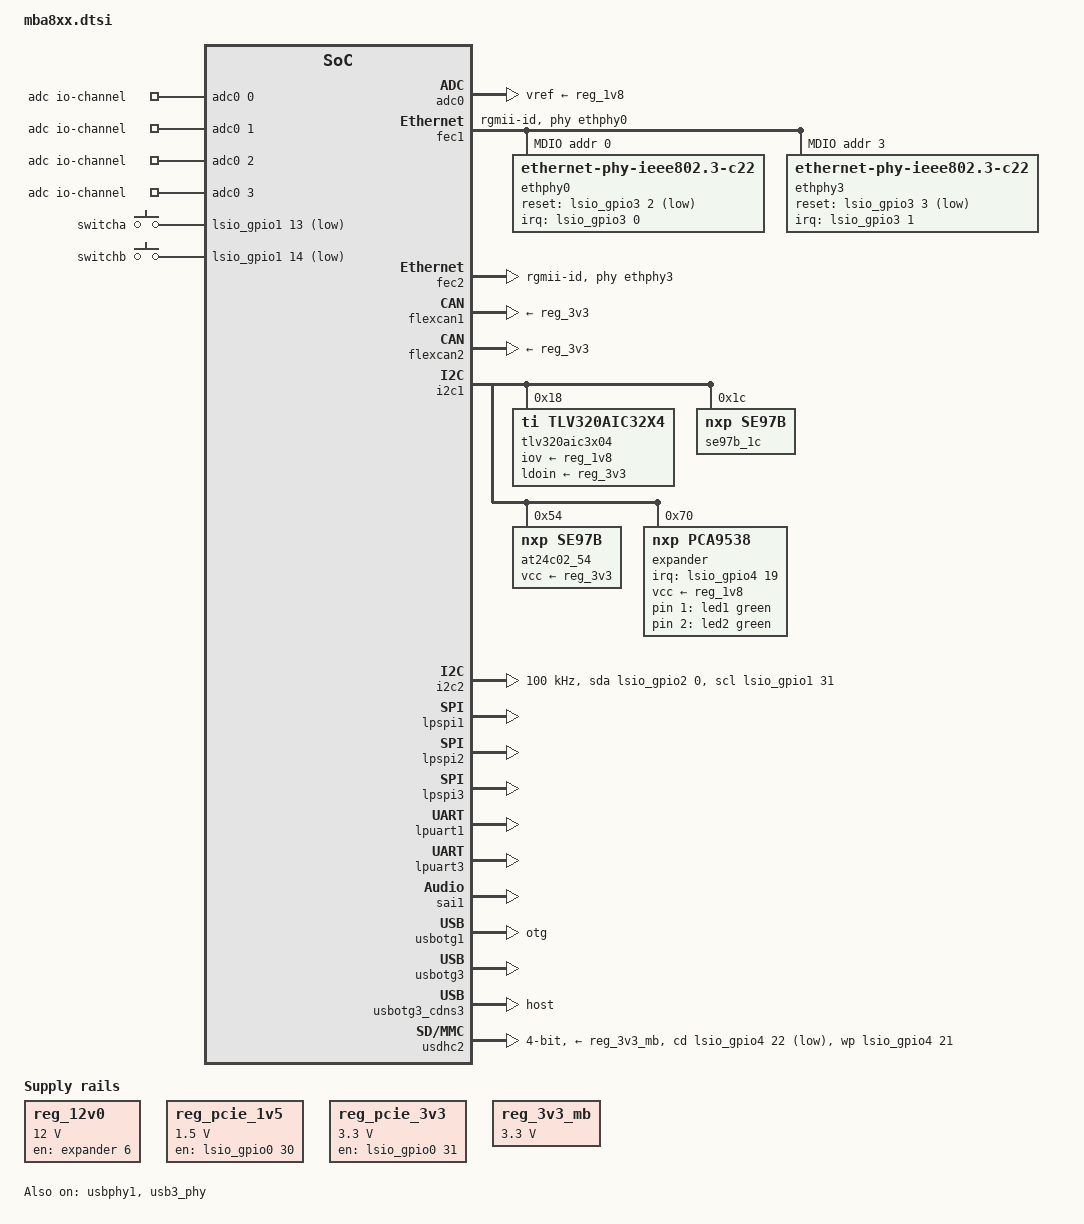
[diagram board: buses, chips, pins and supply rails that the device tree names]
// SPDX-License-Identifier: (GPL-2.0-or-later OR X11)
/*
 * Copyright 2018-2023 TQ-Systems GmbH <linux@ew.tq-group.com>,
 * D-82229 Seefeld, Germany.
 * Author: Alexander Stein
 */

#include <dt-bindings/input/input.h>
#include <dt-bindings/leds/common.h>
#include <dt-bindings/net/ti-dp83867.h>

/ {
	adc {
		compatible = "iio-hwmon";
		io-channels = <&adc0 0>, <&adc0 1>, <&adc0 2>, <&adc0 3>;
	};

	aliases {
		rtc0 = &pcf85063;
		rtc1 = &rtc;
	};

	backlight_lvds: backlight-lvds {
		compatible = "pwm-backlight";
		pinctrl-names = "default";
		pinctrl-0 = <&pinctrl_bl_lvds>;
		pwms = <&adma_pwm 0 5000000 0>;
		brightness-levels = <0 4 8 16 32 64 128 255>;
		default-brightness-level = <7>;
		power-supply = <&reg_12v0>;
		enable-gpios = <&lsio_gpio1 30 GPIO_ACTIVE_HIGH>;
		status = "disabled";
	};

	chosen {
		stdout-path = &lpuart1;
	};

	gpio-keys {
		compatible = "gpio-keys";
		pinctrl-names = "default";
		pinctrl-0 = <&pinctrl_gpiobuttons>;
		autorepeat;

		switch-a {
			label = "switcha";
			linux,code = <BTN_0>;
			gpios = <&lsio_gpio1 13 GPIO_ACTIVE_LOW>;
		};

		switch-b {
			label = "switchb";
			linux,code = <BTN_1>;
			gpios = <&lsio_gpio1 14 GPIO_ACTIVE_LOW>;
		};
	};

	gpio-leds {
		compatible = "gpio-leds";

		led1 {
			color = <LED_COLOR_ID_GREEN>;
			function = LED_FUNCTION_STATUS;
			gpios = <&expander 1 GPIO_ACTIVE_HIGH>;
			linux,default-trigger = "default-on";
		};

		led2 {
			color = <LED_COLOR_ID_GREEN>;
			function = LED_FUNCTION_HEARTBEAT;
			gpios = <&expander 2 GPIO_ACTIVE_HIGH>;
			linux,default-trigger = "heartbeat";
		};
	};

	/* TODO LVDS panels */

	reg_12v0: regulator-12v0 {
		compatible = "regulator-fixed";
		regulator-name = "V_12V";
		regulator-min-microvolt = <12000000>;
		regulator-max-microvolt = <12000000>;
		gpio = <&expander 6 GPIO_ACTIVE_HIGH>;
		enable-active-high;
	};

	reg_pcie_1v5: regulator-pcie-1v5 {
		compatible = "regulator-fixed";
		regulator-name = "MBA8XX_PCIE_1V5";
		pinctrl-names = "default";
		pinctrl-0 = <&pinctrl_reg_pcie_1v5>;
		regulator-min-microvolt = <1500000>;
		regulator-max-microvolt = <1500000>;
		gpio = <&lsio_gpio0 30 GPIO_ACTIVE_HIGH>;
		startup-delay-us = <1000>;
		enable-active-high;
	};

	reg_pcie_3v3: regulator-pcie-3v3 {
		compatible = "regulator-fixed";
		regulator-name = "MBA8XX_PCIE_3V3";
		pinctrl-names = "default";
		pinctrl-0 = <&pinctrl_reg_pcie_3v3>;
		regulator-min-microvolt = <3300000>;
		regulator-max-microvolt = <3300000>;
		gpio = <&lsio_gpio0 31 GPIO_ACTIVE_HIGH>;
		startup-delay-us = <1000>;
		enable-active-high;
		regulator-always-on;
	};

	reg_3v3_mb: regulator-usdhc2-vmmc {
		compatible = "regulator-fixed";
		regulator-name = "V_3V3_MB";
		regulator-min-microvolt = <3300000>;
		regulator-max-microvolt = <3300000>;
	};

	sound {
		compatible = "fsl,imx-audio-tlv320aic32x4";
		model = "tqm-tlv320aic32";
		audio-codec = <&tlv320aic3x04>;
		ssi-controller = <&sai1>;
	};
};

&adc0 {
	pinctrl-names = "default";
	pinctrl-0 = <&pinctrl_adc0>;
	vref-supply = <&reg_1v8>;
	#io-channel-cells = <1>;
	status = "okay";
};

&adma_pwm {
	pinctrl-names = "default";
	pinctrl-0 = <&pinctrl_admapwm>;
};

&fec1 {
	pinctrl-names = "default";
	pinctrl-0 = <&pinctrl_fec1>;
	phy-mode = "rgmii-id";
	phy-handle = <&ethphy0>;
	status = "okay";

	mdio {
		#address-cells = <1>;
		#size-cells = <0>;

		ethphy0: ethernet-phy@0 {
			compatible = "ethernet-phy-ieee802.3-c22";
			reg = <0>;
			pinctrl-names = "default";
			pinctrl-0 = <&pinctrl_ethphy0>;
			ti,rx-internal-delay = <DP83867_RGMIIDCTL_2_25_NS>;
			ti,tx-internal-delay = <DP83867_RGMIIDCTL_2_25_NS>;
			ti,fifo-depth = <DP83867_PHYCR_FIFO_DEPTH_4_B_NIB>;
			ti,dp83867-rxctrl-strap-quirk;
			ti,clk-output-sel = <DP83867_CLK_O_SEL_OFF>;
			reset-gpios = <&lsio_gpio3 2 GPIO_ACTIVE_LOW>;
			reset-assert-us = <500000>;
			reset-deassert-us = <50000>;
			enet-phy-lane-no-swap;
			interrupt-parent = <&lsio_gpio3>;
			interrupts = <0 IRQ_TYPE_EDGE_FALLING>;
		};

		ethphy3: ethernet-phy@3 {
			compatible = "ethernet-phy-ieee802.3-c22";
			reg = <3>;
			pinctrl-names = "default";
			pinctrl-0 = <&pinctrl_ethphy3>;
			ti,rx-internal-delay = <DP83867_RGMIIDCTL_2_25_NS>;
			ti,tx-internal-delay = <DP83867_RGMIIDCTL_2_25_NS>;
			ti,fifo-depth = <DP83867_PHYCR_FIFO_DEPTH_4_B_NIB>;
			ti,dp83867-rxctrl-strap-quirk;
			ti,clk-output-sel = <DP83867_CLK_O_SEL_OFF>;
			reset-gpios = <&lsio_gpio3 3 GPIO_ACTIVE_LOW>;
			reset-assert-us = <500000>;
			reset-deassert-us = <50000>;
			enet-phy-lane-no-swap;
			interrupt-parent = <&lsio_gpio3>;
			interrupts = <1 IRQ_TYPE_EDGE_FALLING>;
		};
	};
};

&fec2 {
	pinctrl-names = "default";
	pinctrl-0 = <&pinctrl_fec2>;
	phy-mode = "rgmii-id";
	phy-handle = <&ethphy3>;
	status = "okay";
};

&flexcan1 {
	pinctrl-names = "default";
	pinctrl-0 = <&pinctrl_can0>;
	xceiver-supply = <&reg_3v3>;
	status = "okay";
};

&flexcan2 {
	pinctrl-names = "default";
	pinctrl-0 = <&pinctrl_can1>;
	xceiver-supply = <&reg_3v3>;
	status = "okay";
};

&i2c1 {
	tlv320aic3x04: audio-codec@18 {
		compatible = "ti,tlv320aic32x4";
		reg = <0x18>;
		clocks = <&mclkout0_lpcg 0>;
		clock-names = "mclk";
		iov-supply = <&reg_1v8>;
		ldoin-supply = <&reg_3v3>;
	};

	se97b_1c: temperature-sensor@1c {
		compatible = "nxp,se97b", "jedec,jc-42.4-temp";
		reg = <0x1c>;
	};

	at24c02_54: eeprom@54 {
		compatible = "nxp,se97b", "atmel,24c02";
		reg = <0x54>;
		pagesize = <16>;
		vcc-supply = <&reg_3v3>;
	};

	expander: gpio@70 {
		compatible = "nxp,pca9538";
		reg = <0x70>;
		pinctrl-names = "default";
		pinctrl-0 = <&pinctrl_pca9538>;
		gpio-controller;
		#gpio-cells = <2>;
		interrupt-parent = <&lsio_gpio4>;
		interrupts = <19 IRQ_TYPE_LEVEL_LOW>;
		interrupt-controller;
		#interrupt-cells = <2>;
		vcc-supply = <&reg_1v8>;

		gpio-line-names = "", "LED_A",
				  "LED_B", "",
				  "DSI_EN", "USB_RESET#",
				  "V_12V_EN", "PCIE_DIS#";
	};
};

&i2c2 {
	clock-frequency = <100000>;
	pinctrl-names = "default", "gpio";
	pinctrl-0 = <&pinctrl_lpi2c2>;
	pinctrl-1 = <&pinctrl_lpi2c2gpio>;
	scl-gpios = <&lsio_gpio1 31 (GPIO_ACTIVE_HIGH | GPIO_OPEN_DRAIN)>;
	sda-gpios = <&lsio_gpio2 0 (GPIO_ACTIVE_HIGH | GPIO_OPEN_DRAIN)>;
	status = "okay";
};

/* TODO LDB */

&lpspi1 {
	pinctrl-names = "default";
	pinctrl-0 = <&pinctrl_spi1>;
	cs-gpios = <&lsio_gpio0 27 GPIO_ACTIVE_LOW>, <&lsio_gpio0 29 GPIO_ACTIVE_LOW>;
	status = "okay";
};

&lpspi2 {
	pinctrl-names = "default";
	pinctrl-0 = <&pinctrl_spi2>;
	cs-gpios = <&lsio_gpio1 0 GPIO_ACTIVE_LOW>;
	status = "okay";
};

&lpspi3 {
	pinctrl-names = "default";
	pinctrl-0 = <&pinctrl_spi3>;
	num-cs = <2>;
	cs-gpios = <&lsio_gpio0 16 GPIO_ACTIVE_LOW>;
	status = "okay";
};

&lpuart1 {
	pinctrl-names = "default";
	pinctrl-0 = <&pinctrl_lpuart1>;
	status = "okay";
};

&lpuart3 {
	pinctrl-names = "default";
	pinctrl-0 = <&pinctrl_lpuart3>;
	status = "okay";
};

&lsio_gpio3 {
	pinctrl-names = "default";
	pinctrl-0 = <&pinctrl_lsgpio3>;
	gpio-line-names = "", "", "", "",
			  "", "", "", "",
			  "", "", "", "",
			  "", "", "", "X4_15",
			  "", "", "", "",
			  "", "", "", "",
			  "", "", "", "",
			  "", "", "", "";
};

/* TODO: Mini-PCIe */

&sai1 {
	assigned-clocks = <&clk IMX_SC_R_AUDIO_PLL_0 IMX_SC_PM_CLK_PLL>,
			  <&clk IMX_SC_R_AUDIO_PLL_0 IMX_SC_PM_CLK_SLV_BUS>,
			  <&clk IMX_SC_R_AUDIO_PLL_0 IMX_SC_PM_CLK_MST_BUS>,
			  <&sai1_lpcg 0>;
	assigned-clock-rates = <786432000>, <49152000>, <12288000>, <49152000>;
	pinctrl-names = "default";
	pinctrl-0 = <&pinctrl_sai1>;
	status = "okay";
};

&usbotg1 {
	pinctrl-names = "default";
	pinctrl-0 = <&pinctrl_usbotg1>;
	srp-disable;
	hnp-disable;
	adp-disable;
	power-active-high;
	over-current-active-low;
	dr_mode = "otg";
	status = "okay";
};

&usbotg3 {
	status = "okay";
};

&usbotg3_cdns3 {
	dr_mode = "host";
	status = "okay";
};

&usbphy1 {
	status = "okay";
};

&usb3_phy {
	status = "okay";
};

&usdhc2 {
	pinctrl-names = "default", "state_100mhz", "state_200mhz";
	pinctrl-0 = <&pinctrl_usdhc2>, <&pinctrl_usdhc2_gpio>;
	pinctrl-1 = <&pinctrl_usdhc2_100mhz>, <&pinctrl_usdhc2_gpio>;
	pinctrl-2 = <&pinctrl_usdhc2_200mhz>, <&pinctrl_usdhc2_gpio>;
	bus-width = <4>;
	cd-gpios = <&lsio_gpio4 22 GPIO_ACTIVE_LOW>;
	wp-gpios = <&lsio_gpio4 21 GPIO_ACTIVE_HIGH>;
	vmmc-supply = <&reg_3v3_mb>;
	no-1-8-v;
	no-sdio;
	no-mmc;
	status = "okay";
};

&iomuxc {
	pinctrl_adc0: adc0grp {
		fsl,pins = <IMX8QXP_ADC_IN0_ADMA_ADC_IN0	0x02000060>,
			   <IMX8QXP_ADC_IN1_ADMA_ADC_IN1	0x02000060>,
			   <IMX8QXP_ADC_IN2_ADMA_ADC_IN2	0x02000060>,
			   <IMX8QXP_ADC_IN3_ADMA_ADC_IN3	0x02000060>;
	};

	pinctrl_admapwm: admapwmgrp {
		fsl,pins = <IMX8QXP_SPI0_CS1_ADMA_LCD_PWM0_OUT	0x00000021>;
	};

	pinctrl_bl_lvds: bllvdsgrp {
		fsl,pins = <IMX8QXP_MIPI_DSI1_I2C0_SDA_LSIO_GPIO1_IO30	0x00000021>;
	};

	pinctrl_can0: can0grp {
		fsl,pins = <IMX8QXP_UART0_RX_ADMA_FLEXCAN0_RX		0x00000021>,
			   <IMX8QXP_UART0_TX_ADMA_FLEXCAN0_TX		0x00000021>;
	};

	pinctrl_can1: can1grp {
		fsl,pins = <IMX8QXP_UART2_RX_ADMA_FLEXCAN1_RX		0x00000021>,
			   <IMX8QXP_UART2_TX_ADMA_FLEXCAN1_TX		0x00000021>;
	};

	pinctrl_ethphy0: ethphy0grp {
		fsl,pins = <IMX8QXP_CSI_EN_LSIO_GPIO3_IO02		0x00000040>,
			   <IMX8QXP_CSI_PCLK_LSIO_GPIO3_IO00		0x00000040>;
	};

	pinctrl_ethphy3: ethphy3grp {
		fsl,pins = <IMX8QXP_CSI_RESET_LSIO_GPIO3_IO03		0x00000040>,
			   <IMX8QXP_CSI_MCLK_LSIO_GPIO3_IO01		0x00000040>;
	};

	pinctrl_fec1: fec1grp {
		fsl,pins = <IMX8QXP_ENET0_MDC_CONN_ENET0_MDC			0x06000041>,
			   <IMX8QXP_ENET0_MDIO_CONN_ENET0_MDIO			0x06000041>,
			   <IMX8QXP_ENET0_RGMII_TX_CTL_CONN_ENET0_RGMII_TX_CTL	0x00000040>,
			   <IMX8QXP_ENET0_RGMII_TXC_CONN_ENET0_RGMII_TXC	0x00000040>,
			   <IMX8QXP_ENET0_RGMII_TXD0_CONN_ENET0_RGMII_TXD0	0x00000040>,
			   <IMX8QXP_ENET0_RGMII_TXD1_CONN_ENET0_RGMII_TXD1	0x00000040>,
			   <IMX8QXP_ENET0_RGMII_TXD2_CONN_ENET0_RGMII_TXD2	0x00000040>,
			   <IMX8QXP_ENET0_RGMII_TXD3_CONN_ENET0_RGMII_TXD3	0x00000040>,
			   <IMX8QXP_ENET0_RGMII_RX_CTL_CONN_ENET0_RGMII_RX_CTL	0x00000040>,
			   <IMX8QXP_ENET0_RGMII_RXC_CONN_ENET0_RGMII_RXC	0x00000040>,
			   <IMX8QXP_ENET0_RGMII_RXD0_CONN_ENET0_RGMII_RXD0	0x00000040>,
			   <IMX8QXP_ENET0_RGMII_RXD1_CONN_ENET0_RGMII_RXD1	0x00000040>,
			   <IMX8QXP_ENET0_RGMII_RXD2_CONN_ENET0_RGMII_RXD2	0x00000040>,
			   <IMX8QXP_ENET0_RGMII_RXD3_CONN_ENET0_RGMII_RXD3	0x00000040>;
	};

	pinctrl_fec2: fec2grp {
		fsl,pins = <IMX8QXP_ESAI0_SCKR_CONN_ENET1_RGMII_TX_CTL		0x00000040>,
			   <IMX8QXP_ESAI0_FSR_CONN_ENET1_RGMII_TXC		0x00000040>,
			   <IMX8QXP_ESAI0_TX4_RX1_CONN_ENET1_RGMII_TXD0		0x00000040>,
			   <IMX8QXP_ESAI0_TX5_RX0_CONN_ENET1_RGMII_TXD1		0x00000040>,
			   <IMX8QXP_ESAI0_FST_CONN_ENET1_RGMII_TXD2		0x00000040>,
			   <IMX8QXP_ESAI0_SCKT_CONN_ENET1_RGMII_TXD3		0x00000040>,
			   <IMX8QXP_ESAI0_TX0_CONN_ENET1_RGMII_RXC		0x00000040>,
			   <IMX8QXP_SPDIF0_TX_CONN_ENET1_RGMII_RX_CTL		0x00000040>,
			   <IMX8QXP_SPDIF0_RX_CONN_ENET1_RGMII_RXD0		0x00000040>,
			   <IMX8QXP_ESAI0_TX3_RX2_CONN_ENET1_RGMII_RXD1		0x00000040>,
			   <IMX8QXP_ESAI0_TX2_RX3_CONN_ENET1_RGMII_RXD2		0x00000040>,
			   <IMX8QXP_ESAI0_TX1_CONN_ENET1_RGMII_RXD3		0x00000040>;
	};

	pinctrl_gpiobuttons: gpiobuttonsgrp {
		fsl,pins = <IMX8QXP_ADC_IN5_LSIO_GPIO1_IO13	0x00000020>,
			   <IMX8QXP_ADC_IN4_LSIO_GPIO1_IO14	0x00000020>;
	};

	pinctrl_lpi2c2: lpi2c2grp {
		fsl,pins = <IMX8QXP_MIPI_DSI1_GPIO0_00_ADMA_I2C2_SCL	0x06000021>,
			   <IMX8QXP_MIPI_DSI1_GPIO0_01_ADMA_I2C2_SDA	0x06000021>;
	};

	pinctrl_lpi2c2gpio: lpi2c2gpiogrp {
		fsl,pins = <IMX8QXP_MIPI_DSI1_GPIO0_00_LSIO_GPIO1_IO31	0x06000021>,
			   <IMX8QXP_MIPI_DSI1_GPIO0_01_LSIO_GPIO2_IO00	0x06000021>;
	};

	pinctrl_lpuart1: lpuart1grp {
		fsl,pins = <IMX8QXP_UART1_RX_ADMA_UART1_RX	0x06000020>,
			   <IMX8QXP_UART1_TX_ADMA_UART1_TX	0x06000020>;
	};

	pinctrl_lpuart3: lpuart3grp {
		fsl,pins = <IMX8QXP_FLEXCAN2_RX_ADMA_UART3_RX	0x06000020>,
			   <IMX8QXP_FLEXCAN2_TX_ADMA_UART3_TX	0x06000020>;
	};

	pinctrl_lsgpio3: lsgpio3grp {
		fsl,pins = <IMX8QXP_QSPI0A_SS1_B_LSIO_GPIO3_IO15	0x00000021>;
	};

	pinctrl_pca9538: pca9538grp {
		fsl,pins = <IMX8QXP_USDHC1_RESET_B_LSIO_GPIO4_IO19	0x00000020>;
	};

	pinctrl_pcieb: pcieagrp {
		fsl,pins = <IMX8QXP_PCIE_CTRL0_PERST_B_LSIO_GPIO4_IO00	0x06000041>,
			   <IMX8QXP_PCIE_CTRL0_CLKREQ_B_LSIO_GPIO4_IO01	0x06000041>,
			   <IMX8QXP_PCIE_CTRL0_WAKE_B_LSIO_GPIO4_IO02	0x04000041>;
	};

	pinctrl_reg_pcie_1v5: regpcie1v5grp {
		fsl,pins = <IMX8QXP_SAI1_RXC_LSIO_GPIO0_IO30	0x00000021>;
	};

	pinctrl_reg_pcie_3v3: regpcie3v3grp {
		fsl,pins = <IMX8QXP_SAI1_RXFS_LSIO_GPIO0_IO31	0x00000021>;
	};

	pinctrl_sai1: sai1grp {
		fsl,pins = <IMX8QXP_MCLK_OUT0_ADMA_ACM_MCLK_OUT0	0x06000041>,
			   <IMX8QXP_FLEXCAN0_RX_ADMA_SAI1_TXC		0x06000041>,
			   <IMX8QXP_FLEXCAN0_TX_ADMA_SAI1_TXFS		0x06000041>,
			   <IMX8QXP_FLEXCAN1_RX_ADMA_SAI1_TXD		0x06000041>,
			   <IMX8QXP_FLEXCAN1_TX_ADMA_SAI1_RXD		0x06000041>;
	};

	pinctrl_spi1: spi1grp {
		fsl,pins = <IMX8QXP_SAI0_TXC_ADMA_SPI1_SDI	0x00000041>,
			   <IMX8QXP_SAI0_TXD_ADMA_SPI1_SDO	0x00000041>,
			   <IMX8QXP_SAI0_TXFS_ADMA_SPI1_SCK	0x00000041>,
			   <IMX8QXP_SAI0_RXD_LSIO_GPIO0_IO27	0x00000021>,
			   <IMX8QXP_SAI1_RXD_LSIO_GPIO0_IO29	0x00000021>;
	};

	pinctrl_spi2: spi2grp {
		fsl,pins = <IMX8QXP_SPI2_SCK_ADMA_SPI2_SCK	0x00000041>,
			   <IMX8QXP_SPI2_SDI_ADMA_SPI2_SDI	0x00000041>,
			   <IMX8QXP_SPI2_SDO_ADMA_SPI2_SDO	0x00000041>,
			   <IMX8QXP_SPI2_CS0_LSIO_GPIO1_IO00	0x00000021>;
	};

	pinctrl_spi3: spi3grp {
		fsl,pins = <IMX8QXP_SPI3_SCK_ADMA_SPI3_SCK	0x00000041>,
			   <IMX8QXP_SPI3_SDI_ADMA_SPI3_SDI	0x00000041>,
			   <IMX8QXP_SPI3_SDO_ADMA_SPI3_SDO	0x00000041>,
			   <IMX8QXP_SPI3_CS0_LSIO_GPIO0_IO16	0x00000021>,
			   <IMX8QXP_SPI3_CS1_ADMA_SPI3_CS1	0x00000021>;
	};

	pinctrl_usbotg1: usbotg1grp {
		fsl,pins = <IMX8QXP_USB_SS3_TC0_CONN_USB_OTG1_PWR	0x00000021>,
			   <IMX8QXP_USB_SS3_TC2_CONN_USB_OTG1_OC	0x00000021>;
	};

	pinctrl_usdhc2_gpio: usdhc2gpiogrp {
		fsl,pins = <IMX8QXP_USDHC1_WP_LSIO_GPIO4_IO21		0x00000021>,
			   <IMX8QXP_USDHC1_CD_B_LSIO_GPIO4_IO22		0x00000021>;
	};

	pinctrl_usdhc2: usdhc2grp {
		fsl,pins = <IMX8QXP_USDHC1_CLK_CONN_USDHC1_CLK		0x06000041>,
			   <IMX8QXP_USDHC1_CMD_CONN_USDHC1_CMD		0x00000021>,
			   <IMX8QXP_USDHC1_DATA0_CONN_USDHC1_DATA0	0x00000021>,
			   <IMX8QXP_USDHC1_DATA1_CONN_USDHC1_DATA1	0x00000021>,
			   <IMX8QXP_USDHC1_DATA2_CONN_USDHC1_DATA2	0x00000021>,
			   <IMX8QXP_USDHC1_DATA3_CONN_USDHC1_DATA3	0x00000021>,
			   <IMX8QXP_USDHC1_VSELECT_CONN_USDHC1_VSELECT	0x00000021>;
	};

	pinctrl_usdhc2_100mhz: usdhc2-100mhzgrp {
		fsl,pins = <IMX8QXP_USDHC1_CLK_CONN_USDHC1_CLK		0x06000040>,
			   <IMX8QXP_USDHC1_CMD_CONN_USDHC1_CMD		0x00000020>,
			   <IMX8QXP_USDHC1_DATA0_CONN_USDHC1_DATA0	0x00000020>,
			   <IMX8QXP_USDHC1_DATA1_CONN_USDHC1_DATA1	0x00000020>,
			   <IMX8QXP_USDHC1_DATA2_CONN_USDHC1_DATA2	0x00000020>,
			   <IMX8QXP_USDHC1_DATA3_CONN_USDHC1_DATA3	0x00000020>,
			   <IMX8QXP_USDHC1_VSELECT_CONN_USDHC1_VSELECT	0x00000020>;
	};

	pinctrl_usdhc2_200mhz: usdhc2-200mhzgrp {
		fsl,pins = <IMX8QXP_USDHC1_CLK_CONN_USDHC1_CLK		0x06000040>,
			   <IMX8QXP_USDHC1_CMD_CONN_USDHC1_CMD		0x00000020>,
			   <IMX8QXP_USDHC1_DATA0_CONN_USDHC1_DATA0	0x00000020>,
			   <IMX8QXP_USDHC1_DATA1_CONN_USDHC1_DATA1	0x00000020>,
			   <IMX8QXP_USDHC1_DATA2_CONN_USDHC1_DATA2	0x00000020>,
			   <IMX8QXP_USDHC1_DATA3_CONN_USDHC1_DATA3	0x00000020>,
			   <IMX8QXP_USDHC1_VSELECT_CONN_USDHC1_VSELECT	0x00000020>;
	};
};
